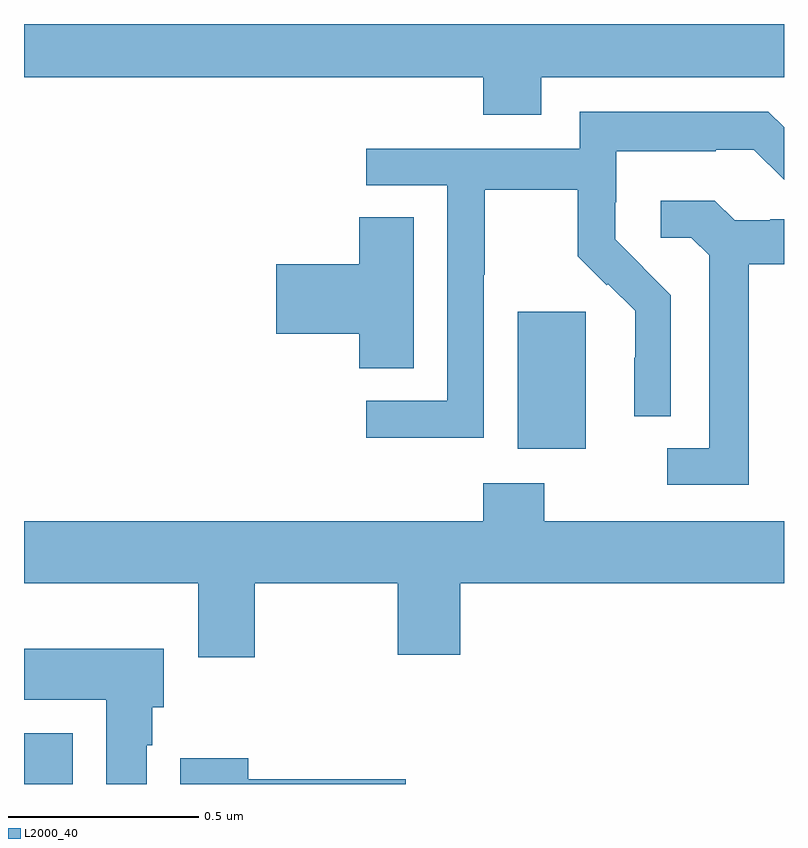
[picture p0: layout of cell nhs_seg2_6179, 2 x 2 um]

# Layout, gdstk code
import gdstk
lib = gdstk.Library(unit=1e-6, precision=1e-09)
def R(c, l, rs):  # rectangles x0, y0, x1, y1
    for r in rs: c.add(gdstk.rectangle(r[:2], r[2:], *l))
def P(c, l, *ps):  # polygons
    for p in ps: c.add(gdstk.Polygon(p, *l))
L2000_40 = (2000, 40)

nhs_seg2_6179 = lib.new_cell('nhs_seg2_6179')
R(nhs_seg2_6179, L2000_40, [(188,621.8,188.128,621.934), (189.299,622.682,189.478,623.043)])
P(nhs_seg2_6179, L2000_40, [(189.361,623.66),(190,623.66),(190,623.8),(188,623.8),(188,623.66),(189.209,623.66),(189.209,623.561),(189.361,623.561)],
  [(189.21,623.14),(189.213,623.14),(189.213,623.364),(189.457,623.364),(189.457,623.189),(189.534,623.112),(189.537,623.115),(189.608,623.045),(189.608,622.922),(189.606,622.922),(189.606,622.768),(189.702,622.768),(189.702,623.086),(189.629,623.159),(189.63,623.16),(189.556,623.234),(189.556,623.331),(189.558,623.331),(189.558,623.465),(189.821,623.465),(189.821,623.469),(189.921,623.469),(190,623.39),(190,623.528),(189.959,623.569),(189.462,623.569),(189.462,623.472),(188.901,623.472),(188.901,623.376),(189.114,623.376),(189.114,622.809),(188.901,622.809),(188.901,622.711),(189.21,622.711)],
  [(189.907,623.168),(190,623.168),(190,623.286),(189.964,623.286),(189.964,623.283),(189.87,623.283),(189.818,623.335),(189.675,623.335),(189.675,623.238),(189.756,623.238),(189.803,623.191),(189.803,622.683),(189.693,622.683),(189.693,622.587),(189.907,622.587)],
  [(189.025,623.291),(188.882,623.291),(188.882,623.168),(188.664,623.168),(188.664,622.985),(188.882,622.985),(188.882,622.894),(189.025,622.894)],
  [(188.607,622.328),(188.984,622.328),(188.984,622.14),(189.148,622.14),(189.148,622.328),(190,622.328),(190,622.492),(189.369,622.492),(189.369,622.591),(189.209,622.591),(189.209,622.492),(188,622.492),(188,622.328),(188.459,622.328),(188.459,622.134),(188.607,622.134)],
  [(188.323,621.902),(188.338,621.902),(188.338,622.002),(188.368,622.002),(188.368,622.156),(188,622.156),(188,622.022),(188.216,622.022),(188.216,621.8),(188.323,621.8)],
  [(189.004,621.812),(188.59,621.812),(188.59,621.868),(188.411,621.868),(188.411,621.8),(189.004,621.8)])

lib.write_gds('nhs_seg2_6179.gds')
